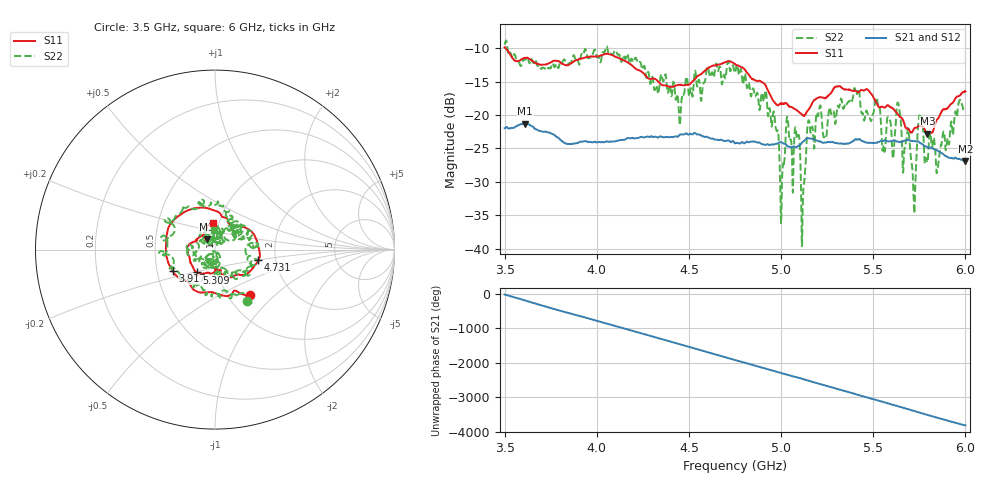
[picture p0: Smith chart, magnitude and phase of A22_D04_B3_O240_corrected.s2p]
! Created with skrf 1.9.0 (http://scikit-rf.org).
# Hz S RI R 50.0
!freq ReS11 ImS11 ReS21 ImS21 ReS12 ImS12 ReS22 ImS22
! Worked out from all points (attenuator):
!   1601 points, 3.5 GHz to 6 GHz, reference 50 ohm
!   highest |S21| = -21.31 dB at 3.611 GHz (marker M1); lowest = -26.9 dB at 6 GHz (marker M2)
!   lowest |S11| = -22.8 dB at 5.794 GHz (marker M3), VSWR 1.16, Z = 45.4 + j5.21 ohm
!   |S11| at or under -10 dB: 3.505 GHz to end of sweep
!   |S22| runs from -39.6 to -8.9 dB; largest |S21 - S12| = 0.001
!   S11 on the Smith chart (normalised r, x): 3.5 GHz: 1.25, -0.71; 3.917 GHz: 0.60, -0.16; 4.731 GHz: 1.62, -0.20; 5.309 GHz: 0.79, -0.21; 6 GHz: 0.94, +0.29
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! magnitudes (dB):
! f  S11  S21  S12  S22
! 3.5 GHz  -9.9  -22.0  -22.0  -9.5
! 3.611 GHz  -11.5  -21.3  -21.3  -11.8
! 3.917 GHz  -11.6  -24.0  -24.0  -10.9
! 4.334 GHz  -15.0  -23.4  -23.3  -16.8
! 4.453 GHz  -15.5  -22.9  -22.9  -20.9
! 4.731 GHz  -12.1  -24.0  -23.9  -13.0
! 4.75 GHz  -12.4  -24.2  -24.2  -13.7
! 4.911 GHz  -15.4  -24.4  -24.4  -17.0
! 4.973 GHz  -18.4  -24.3  -24.2  -22.1
! 5.005 GHz  -18.2  -24.1  -24.1  -30.2
! 5.033 GHz  -18.3  -24.6  -24.6  -20.3
! 5.086 GHz  -19.3  -24.8  -24.7  -23.5
! 5.12 GHz  -20.1  -24.0  -23.9  -31.4
! 5.145 GHz  -19.3  -23.5  -23.4  -21.1
! 5.167 GHz  -18.3  -23.5  -23.5  -21.8
! 5.309 GHz  -15.7  -24.3  -24.2  -18.7
! 5.584 GHz  -18.6  -23.9  -23.9  -20.4
! 5.639 GHz  -20.1  -24.0  -24.0  -18.7
! 5.719 GHz  -22.2  -23.9  -23.8  -32.3
! 5.755 GHz  -21.6  -24.2  -24.1  -20.4
! 5.794 GHz  -22.8  -24.8  -24.8  -27.0
! 6 GHz  -16.5  -26.9  -26.8  -19.3
